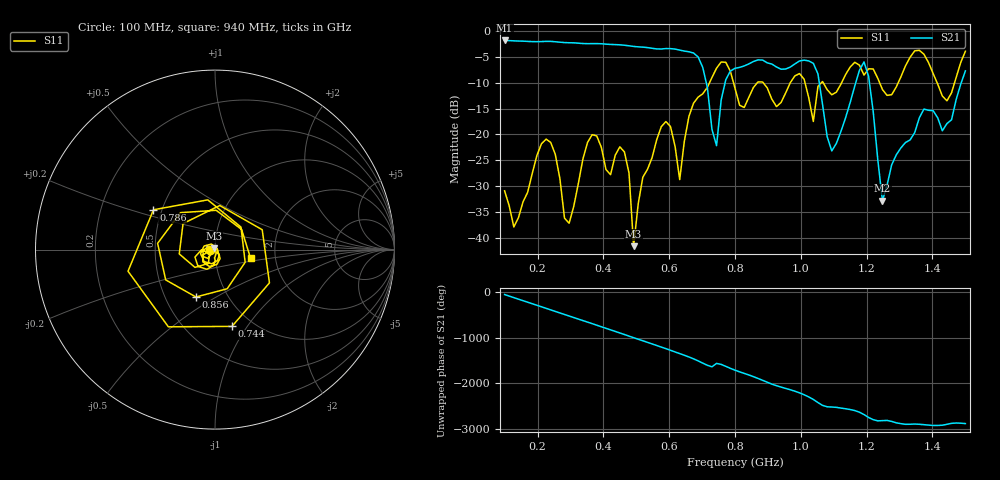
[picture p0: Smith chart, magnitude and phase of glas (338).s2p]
! NanoVNA-App
! Date: 2025-09-25 15:58:06
! Start: 100MHz Stop: 1,5GHz Points: 101
! S-Parameter data: F S11 S21 S12 S22
# Hz S RI R 50
!  Frequency  S11_Real  S11_Imag  S21_Real  S21_Imag  S12_Real  S12_Imag  S22_Real  S22_Imag
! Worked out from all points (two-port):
!   101 points, 100 MHz to 1.5 GHz, reference 50 ohm
!   highest |S21| = -1.80 dB at 100 MHz (marker M1); lowest = -32.8 dB at 1.248 GHz (marker M2)
!   |S21| within 3 dB of the highest: start of sweep to 684.3 MHz
!   lowest |S11| = -41.7 dB at 492 MHz (marker M3), VSWR 1.02, Z = 49.5 + j0.642 ohm
!   |S11| at or under -10 dB: start of sweep to 722.5 MHz; 795.5 MHz to 867.8 MHz (72.35 MHz wide, 8.7 % of centre); 885.8 MHz to 967.9 MHz (82.08 MHz wide, 8.86 % of centre) (the widest 3 of 7)
!   S12 and S22 are empty: the file has one direction only
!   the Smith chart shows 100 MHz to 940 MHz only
!   S11 on the Smith chart (normalised r, x): 100 MHz: 0.95, -0.01; 744 MHz: 0.81, -0.85; 786 MHz: 0.45, +0.24; 856 MHz: 0.71, -0.41; 940 MHz: 1.48, -0.15
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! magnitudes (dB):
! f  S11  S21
! 100 MHz  -30.9  -1.8
! 128 MHz  -37.9  -1.9
! 226 MHz  -20.9  -2.0
! 296 MHz  -37.2  -2.2
! 338 MHz  -24.8  -2.4
! 464 MHz  -23.4  -2.7
! 492 MHz  -41.7  -3.0
! 576 MHz  -18.5  -3.5
! 632 MHz  -28.8  -3.7
! 702 MHz  -12.1  -7.0
! 744 MHz  -7.2  -22.2
! 786 MHz  -7.8  -7.7
! 800 MHz  -11.1  -7.2
! 856 MHz  -10.9  -5.9
! 940 MHz  -13.8  -7.4
! 996 MHz  -8.2  -5.8
! 1.038 GHz  -17.5  -6.2
! 1.094 GHz  -12.3  -23.2
! 1.192 GHz  -8.5  -6.0
! 1.248 GHz  -11.3  -32.8
! 1.276 GHz  -12.3  -25.9
! 1.5 GHz  -3.9  -7.7
